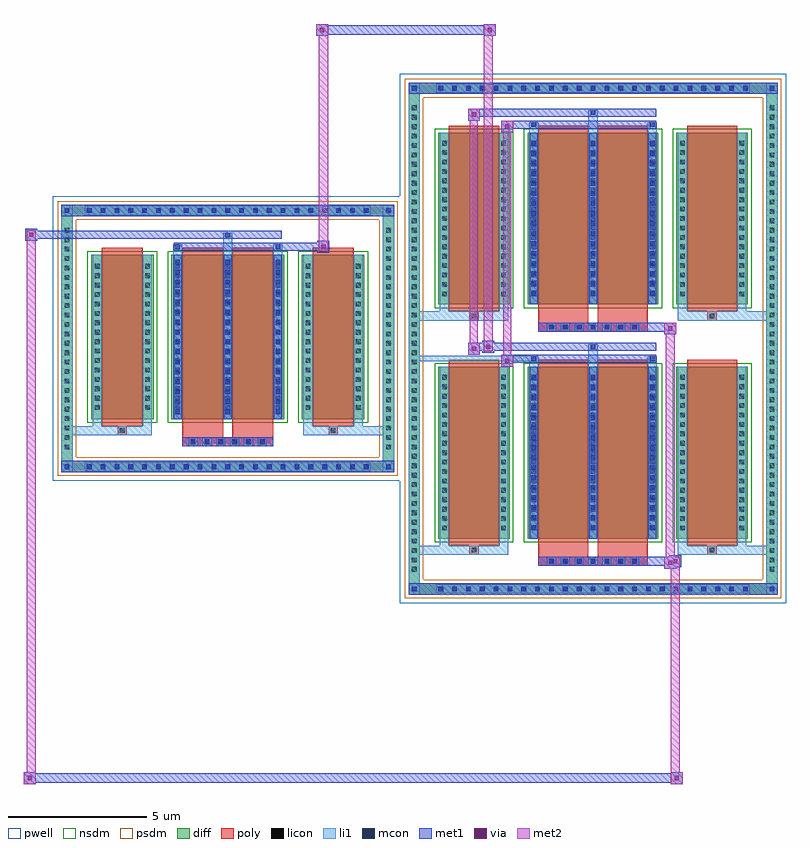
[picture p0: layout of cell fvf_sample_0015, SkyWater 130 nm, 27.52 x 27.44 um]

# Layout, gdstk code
import gdstk
lib = gdstk.Library(unit=1e-6, precision=1e-09)
def R(c, l, rs):  # rectangles x0, y0, x1, y1
    for r in rs: c.add(gdstk.rectangle(r[:2], r[2:], *l))
def A(c, l, x, y, w, h, nx, ny, dx, dy):  # array of equal rectangles
    R(c, l, [(x+i*dx, y+j*dy, x+i*dx+w, y+j*dy+h) for i in range(nx) for j in range(ny)])
def P(c, l, *ps):  # polygons
    for p in ps: c.add(gdstk.Polygon(p, *l))
pwell = (64, 44)
diff = (65, 20)
poly = (66, 20)
licon = (66, 44)
li1 = (67, 20)
mcon = (67, 44)
met1 = (68, 20)
via = (68, 44)
met2 = (69, 20)
nsdm = (93, 44)
psdm = (94, 20)

fvf_sample_0015 = lib.new_cell('fvf_sample_0015')
R(fvf_sample_0015, pwell, [(6.216,-9.552,20.158,9.552), (-6.316,-5.139,6.316,5.139)])
A(fvf_sample_0015, diff, 7.482, -9.242, 0.41, 0.41, 23, 2, 0.5, 18.074)
A(fvf_sample_0015, diff, 6.526, -8.535, 0.41, 0.41, 1, 50, 0, 0.34)
A(fvf_sample_0015, diff, 19.438, -8.535, 0.41, 0.41, 1, 50, 0, 0.34)
A(fvf_sample_0015, diff, -5.205, -4.829, 0.41, 0.41, 21, 2, 0.5, 9.248)
A(fvf_sample_0015, diff, -6.006, -4.115, 0.41, 0.41, 1, 24, 0, 0.34)
A(fvf_sample_0015, diff, 5.596, -4.115, 0.41, 0.41, 1, 24, 0, 0.34)
R(fvf_sample_0015, diff, [(7.482,-9.242,18.892,-8.832), (6.526,-8.535,6.936,8.535), (19.438,-8.535,19.848,8.535), (7.596,-7.221,10.184,-1.015), (10.824,-7.221,15.55,-1.015), (16.19,-7.221,18.778,-1.015), (-5.205,-4.829,5.205,-4.419), (-6.006,-4.115,-5.596,4.115), (5.596,-4.115,6.006,4.115), (-4.935,-2.908,-2.675,3.024), (-2.035,-2.908,2.035,3.024), (2.675,-2.908,4.935,3.024), (7.596,1.231,10.184,7.437), (10.824,1.231,15.55,7.437), (16.19,1.231,18.778,7.437), (-5.205,4.419,5.205,4.829), (7.482,8.832,18.892,9.242)])
P(fvf_sample_0015, diff, [(6.006,4.829),(-6.006,4.829),(-6.006,-4.419),(-5.596,-4.419),(-5.596,4.419),(5.596,4.419),(5.596,-4.419),(-5.596,-4.419),(-6.006,-4.419),(-6.006,-4.829),(6.006,-4.829)],
  [(19.848,9.242),(6.526,9.242),(6.526,-8.832),(6.936,-8.832),(6.936,8.832),(19.438,8.832),(19.438,-8.832),(6.936,-8.832),(6.526,-8.832),(6.526,-9.242),(19.848,-9.242)])
A(fvf_sample_0015, poly, 11.522, -8.202, 0.33, 0.33, 7, 2, 0.5, 8.452)
A(fvf_sample_0015, poly, -1.415, -3.888, 0.33, 0.33, 6, 1, 0.5, 0)
R(fvf_sample_0015, poly, [(11.214,-8.202,15.16,-7.872), (11.214,-7.872,13.022,-7.471), (13.352,-7.872,15.16,-7.471), (8.725,-7.801,9.055,-7.471), (8.725,-7.801,9.055,-7.471), (17.319,-7.801,17.649,-7.471), (17.319,-7.801,17.649,-7.471), (7.986,-7.471,9.794,-0.765), (11.214,-7.471,13.022,-0.765), (13.352,-7.471,15.16,-0.765), (16.58,-7.471,18.388,-0.765), (-1.645,-3.888,1.645,-3.558), (-1.645,-3.558,-0.165,-3.158), (0.165,-3.558,1.645,-3.158), (-3.97,-3.488,-3.64,-3.158), (-3.97,-3.488,-3.64,-3.158), (3.64,-3.488,3.97,-3.158), (3.64,-3.488,3.97,-3.158), (-4.545,-3.158,-3.065,3.274), (-1.645,-3.158,-0.165,3.274), (0.165,-3.158,1.645,3.274), (3.065,-3.158,4.545,3.274), (11.214,0.25,15.16,0.58), (11.214,0.58,13.022,0.981), (13.352,0.58,15.16,0.981), (8.725,0.651,9.055,0.981), (8.725,0.651,9.055,0.981), (17.319,0.651,17.649,0.981), (17.319,0.651,17.649,0.981), (7.986,0.981,9.794,7.687), (11.214,0.981,13.022,7.687), (13.352,0.981,15.16,7.687), (16.58,0.981,18.388,7.687)])
A(fvf_sample_0015, licon, 7.602, -9.122, 0.17, 0.17, 23, 2, 0.5, 18.074)
A(fvf_sample_0015, licon, 6.646, -8.415, 0.17, 0.17, 1, 50, 0, 0.34)
A(fvf_sample_0015, licon, 19.558, -8.415, 0.17, 0.17, 1, 50, 0, 0.34)
A(fvf_sample_0015, licon, 11.602, -8.122, 0.17, 0.17, 7, 2, 0.5, 8.452)
A(fvf_sample_0015, licon, 7.736, -6.923, 0.17, 0.17, 1, 17, 0, 0.34)
A(fvf_sample_0015, licon, 9.874, -6.923, 0.17, 0.17, 1, 17, 0, 0.34)
A(fvf_sample_0015, licon, 10.964, -6.923, 0.17, 0.17, 3, 17, 2.138, 0.34)
A(fvf_sample_0015, licon, 16.33, -6.923, 0.17, 0.17, 1, 17, 0, 0.34)
A(fvf_sample_0015, licon, 18.468, -6.923, 0.17, 0.17, 1, 17, 0, 0.34)
A(fvf_sample_0015, licon, -5.085, -4.709, 0.17, 0.17, 21, 2, 0.5, 9.248)
A(fvf_sample_0015, licon, -5.886, -3.995, 0.17, 0.17, 1, 24, 0, 0.34)
A(fvf_sample_0015, licon, 5.716, -3.995, 0.17, 0.17, 1, 24, 0, 0.34)
A(fvf_sample_0015, licon, -1.335, -3.808, 0.17, 0.17, 6, 1, 0.5, 0)
A(fvf_sample_0015, licon, -4.795, -2.577, 0.17, 0.17, 1, 16, 0, 0.34)
A(fvf_sample_0015, licon, -2.985, -2.577, 0.17, 0.17, 1, 16, 0, 0.34)
A(fvf_sample_0015, licon, -1.895, -2.577, 0.17, 0.17, 3, 16, 1.81, 0.34)
A(fvf_sample_0015, licon, 2.815, -2.577, 0.17, 0.17, 1, 16, 0, 0.34)
A(fvf_sample_0015, licon, 4.625, -2.577, 0.17, 0.17, 1, 16, 0, 0.34)
A(fvf_sample_0015, licon, 7.736, 1.529, 0.17, 0.17, 1, 17, 0, 0.34)
A(fvf_sample_0015, licon, 9.874, 1.529, 0.17, 0.17, 1, 17, 0, 0.34)
A(fvf_sample_0015, licon, 10.964, 1.529, 0.17, 0.17, 3, 17, 2.138, 0.34)
A(fvf_sample_0015, licon, 16.33, 1.529, 0.17, 0.17, 1, 17, 0, 0.34)
A(fvf_sample_0015, licon, 18.468, 1.529, 0.17, 0.17, 1, 17, 0, 0.34)
R(fvf_sample_0015, licon, [(8.805,-7.721,8.975,-7.551), (17.399,-7.721,17.569,-7.551), (-3.89,-3.408,-3.72,-3.238), (3.72,-3.408,3.89,-3.238), (8.805,0.731,8.975,0.901), (17.399,0.731,17.569,0.901)])
A(fvf_sample_0015, li1, 7.522, -9.202, 0.33, 0.33, 23, 2, 0.5, 18.074)
A(fvf_sample_0015, li1, 6.566, -8.495, 0.33, 0.33, 1, 50, 0, 0.34)
A(fvf_sample_0015, li1, 19.478, -8.495, 0.33, 0.33, 1, 50, 0, 0.34)
A(fvf_sample_0015, li1, 11.522, -8.202, 0.33, 0.33, 7, 2, 0.5, 8.452)
A(fvf_sample_0015, li1, 10.884, -7.221, 0.33, 6.206, 3, 2, 2.138, 8.452)
A(fvf_sample_0015, li1, 7.656, -7.003, 0.33, 0.33, 1, 17, 0, 0.34)
A(fvf_sample_0015, li1, 9.794, -7.003, 0.33, 0.33, 1, 17, 0, 0.34)
A(fvf_sample_0015, li1, 10.884, -7.003, 0.33, 0.33, 3, 17, 2.138, 0.34)
A(fvf_sample_0015, li1, 16.25, -7.003, 0.33, 0.33, 1, 17, 0, 0.34)
A(fvf_sample_0015, li1, 18.388, -7.003, 0.33, 0.33, 1, 17, 0, 0.34)
A(fvf_sample_0015, li1, 10.964, -6.903, 0.17, 0.17, 3, 16, 2.138, 0.36)
A(fvf_sample_0015, li1, 10.964, -6.903, 0.17, 5.57, 3, 2, 2.138, 8.452)
A(fvf_sample_0015, li1, -5.165, -4.789, 0.33, 0.33, 21, 2, 0.5, 9.248)
A(fvf_sample_0015, li1, -5.966, -4.075, 0.33, 0.33, 1, 24, 0, 0.34)
A(fvf_sample_0015, li1, 5.636, -4.075, 0.33, 0.33, 1, 24, 0, 0.34)
A(fvf_sample_0015, li1, -1.415, -3.888, 0.33, 0.33, 6, 1, 0.5, 0)
A(fvf_sample_0015, li1, -1.975, -2.908, 0.33, 5.932, 3, 1, 1.81, 0)
A(fvf_sample_0015, li1, -1.895, -2.727, 0.17, 0.17, 3, 16, 1.81, 0.36)
A(fvf_sample_0015, li1, -1.895, -2.727, 0.17, 5.57, 3, 1, 1.81, 0)
A(fvf_sample_0015, li1, -4.875, -2.657, 0.33, 0.33, 1, 16, 0, 0.34)
A(fvf_sample_0015, li1, -3.065, -2.657, 0.33, 0.33, 1, 16, 0, 0.34)
A(fvf_sample_0015, li1, -1.975, -2.657, 0.33, 0.33, 3, 16, 1.81, 0.34)
A(fvf_sample_0015, li1, 2.735, -2.657, 0.33, 0.33, 1, 16, 0, 0.34)
A(fvf_sample_0015, li1, 4.545, -2.657, 0.33, 0.33, 1, 16, 0, 0.34)
A(fvf_sample_0015, li1, 7.656, 1.449, 0.33, 0.33, 1, 17, 0, 0.34)
A(fvf_sample_0015, li1, 9.794, 1.449, 0.33, 0.33, 1, 17, 0, 0.34)
A(fvf_sample_0015, li1, 10.884, 1.449, 0.33, 0.33, 3, 17, 2.138, 0.34)
A(fvf_sample_0015, li1, 16.25, 1.449, 0.33, 0.33, 1, 17, 0, 0.34)
A(fvf_sample_0015, li1, 18.388, 1.449, 0.33, 0.33, 1, 17, 0, 0.34)
A(fvf_sample_0015, li1, 10.964, 1.549, 0.17, 0.17, 3, 16, 2.138, 0.36)
R(fvf_sample_0015, li1, [(6.526,-9.242,6.936,-8.832), (19.438,-9.242,19.848,-8.832), (7.522,-9.202,18.852,-8.872), (6.646,-9.122,6.816,-8.952), (6.646,-9.122,6.816,-8.952), (19.558,-9.122,19.728,-8.952), (19.558,-9.122,19.728,-8.952), (6.526,-8.832,6.936,8.832), (19.438,-8.832,19.848,8.832), (6.526,-7.801,8.725,-7.471), (7.656,-7.801,7.986,-7.221), (7.656,-7.801,8.725,-7.471), (8.725,-7.801,9.055,-7.471), (9.055,-7.801,10.124,-7.471), (9.794,-7.801,10.124,-7.221), (16.25,-7.801,16.58,-7.221), (16.25,-7.801,17.319,-7.471), (17.319,-7.801,17.649,-7.471), (17.319,-7.801,19.848,-7.471), (17.649,-7.801,18.718,-7.471), (18.388,-7.801,18.718,-7.221), (7.656,-7.221,7.986,-1.015), (9.794,-7.221,10.124,-1.015), (16.25,-7.221,16.58,-1.015), (18.388,-7.221,18.718,-1.015), (-6.006,-4.829,-5.596,-4.419), (5.596,-4.829,6.006,-4.419), (-5.165,-4.789,5.165,-4.459), (-5.886,-4.709,-5.716,-4.539), (-5.886,-4.709,-5.716,-4.539), (5.716,-4.709,5.886,-4.539), (5.716,-4.709,5.886,-4.539), (-6.006,-4.419,-5.596,4.419), (5.596,-4.419,6.006,4.419), (-6.006,-3.488,-3.97,-3.158), (-4.875,-3.488,-3.97,-3.158), (-4.875,-3.488,-4.545,-2.908), (-3.97,-3.488,-3.64,-3.158), (-3.64,-3.488,-2.735,-3.158), (-3.065,-3.488,-2.735,-2.908), (2.735,-3.488,3.64,-3.158), (2.735,-3.488,3.065,-2.908), (3.64,-3.488,3.97,-3.158), (3.64,-3.488,6.006,-3.158), (3.97,-3.488,4.875,-3.158), (4.545,-3.488,4.875,-2.908), (-4.875,-2.908,-4.545,3.024), (-3.065,-2.908,-2.735,3.024), (2.735,-2.908,3.065,3.024), (4.545,-2.908,4.875,3.024), (10.884,-1.015,11.214,-0.64), (13.022,-1.015,13.352,-0.21), (15.16,-1.015,15.49,-0.64), (10.904,-0.87,11.194,-0.58), (6.526,-0.825,10.904,-0.625), (10.964,-0.81,11.134,-0.64), (10.964,-0.81,11.134,-0.64), (15.24,-0.81,15.41,-0.64), (13.102,-0.38,13.272,-0.21), (6.526,0.651,8.725,0.981), (7.656,0.651,7.986,1.231), (7.656,0.651,8.725,0.981), (8.725,0.651,9.055,0.981), (9.055,0.651,10.124,0.981), (9.794,0.651,10.124,1.231), (16.25,0.651,16.58,1.231), (16.25,0.651,17.319,0.981), (17.319,0.651,17.649,0.981), (17.319,0.651,19.848,0.981), (17.649,0.651,18.718,0.981), (18.388,0.651,18.718,1.231), (7.656,1.231,7.986,7.437), (9.794,1.231,10.124,7.437), (16.25,1.231,16.58,7.437), (18.388,1.231,18.718,7.437), (-1.975,3.024,-1.645,3.399), (-0.165,3.024,0.165,3.829), (1.645,3.024,1.975,3.399), (-1.895,3.229,-1.725,3.399), (1.725,3.229,1.895,3.399), (-0.085,3.659,0.085,3.829), (-6.006,4.419,-5.596,4.829), (5.596,4.419,6.006,4.829), (-5.165,4.459,5.165,4.789), (-5.886,4.539,-5.716,4.709), (-5.886,4.539,-5.716,4.709), (5.716,4.539,5.886,4.709), (5.716,4.539,5.886,4.709), (10.884,7.437,11.214,7.812), (13.022,7.437,13.352,8.242), (15.16,7.437,15.49,7.812), (10.964,7.642,11.134,7.812), (15.24,7.642,15.41,7.812), (13.102,8.072,13.272,8.242), (6.526,8.832,6.936,9.242), (19.438,8.832,19.848,9.242), (7.522,8.872,18.852,9.202), (6.646,8.952,6.816,9.122), (6.646,8.952,6.816,9.122), (19.558,8.952,19.728,9.122), (19.558,8.952,19.728,9.122)])
A(fvf_sample_0015, mcon, 7.602, -9.122, 0.17, 0.17, 23, 2, 0.5, 18.074)
A(fvf_sample_0015, mcon, 11.602, -8.122, 0.17, 0.17, 7, 2, 0.5, 8.452)
A(fvf_sample_0015, mcon, 10.964, -6.903, 0.17, 0.17, 3, 16, 2.138, 0.36)
A(fvf_sample_0015, mcon, -5.085, -4.709, 0.17, 0.17, 21, 2, 0.5, 9.248)
A(fvf_sample_0015, mcon, -1.335, -3.808, 0.17, 0.17, 6, 1, 0.5, 0)
A(fvf_sample_0015, mcon, -1.895, -2.727, 0.17, 0.17, 3, 16, 1.81, 0.36)
A(fvf_sample_0015, mcon, 10.964, 1.549, 0.17, 0.17, 3, 16, 2.138, 0.36)
R(fvf_sample_0015, mcon, [(6.646,-9.122,6.816,-8.952), (19.558,-9.122,19.728,-8.952), (-5.886,-4.709,-5.716,-4.539), (5.716,-4.709,5.886,-4.539), (10.964,-0.81,11.134,-0.64), (10.964,-0.81,11.134,-0.64), (15.24,-0.81,15.41,-0.64), (13.102,-0.38,13.272,-0.21), (-1.895,3.229,-1.725,3.399), (1.725,3.229,1.895,3.399), (-0.085,3.659,0.085,3.829), (-5.886,4.539,-5.716,4.709), (5.716,4.539,5.886,4.709), (10.964,7.642,11.134,7.812), (15.24,7.642,15.41,7.812), (13.102,8.072,13.272,8.242), (6.646,8.952,6.816,9.122), (19.558,8.952,19.728,9.122)])
A(fvf_sample_0015, met1, 7.542, -9.182, 0.29, 0.29, 23, 2, 0.5, 18.074)
A(fvf_sample_0015, met1, 11.542, -8.182, 0.29, 0.29, 7, 2, 0.5, 8.452)
A(fvf_sample_0015, met1, 10.904, -7.221, 0.29, 6.206, 3, 2, 2.138, 8.452)
A(fvf_sample_0015, met1, 10.904, -6.963, 0.29, 0.29, 3, 16, 2.138, 0.36)
A(fvf_sample_0015, met1, -5.145, -4.769, 0.29, 0.29, 21, 2, 0.5, 9.248)
A(fvf_sample_0015, met1, -1.395, -3.868, 0.29, 0.29, 6, 1, 0.5, 0)
A(fvf_sample_0015, met1, -1.955, -2.908, 0.29, 5.932, 3, 1, 1.81, 0)
A(fvf_sample_0015, met1, -1.955, -2.787, 0.29, 0.29, 3, 16, 1.81, 0.36)
A(fvf_sample_0015, met1, 10.904, 1.489, 0.29, 0.29, 3, 16, 2.138, 0.36)
R(fvf_sample_0015, met1, [(-7.359,-16.079,-6.929,-15.649), (15.995,-16.079,16.425,-15.649), (-7.359,-16.029,16.425,-15.699), (-7.359,-15.699,-6.929,-15.649), (15.995,-15.699,16.425,-15.649), (6.526,-9.242,6.936,-8.832), (6.526,-9.242,6.936,-8.832), (6.936,-9.242,19.438,-8.832), (19.438,-9.242,19.848,-8.832), (19.438,-9.242,19.848,-8.832), (6.586,-9.182,6.876,-8.892), (19.498,-9.182,19.788,-8.892), (15.76,-8.302,16.19,-7.872), (15.945,-8.252,16.375,-7.822), (11.214,-8.202,15.16,-7.872), (15.16,-8.202,15.945,-7.872), (15.16,-8.202,16.19,-7.872), (-6.006,-4.829,-5.596,-4.419), (-6.006,-4.829,-5.596,-4.419), (-5.596,-4.829,5.596,-4.419), (5.596,-4.829,6.006,-4.419), (5.596,-4.829,6.006,-4.419), (-5.946,-4.769,-5.656,-4.479), (5.656,-4.769,5.946,-4.479), (-1.645,-3.888,1.645,-3.558), (9.874,-1.01,10.304,-0.58), (9.874,-0.87,10.904,-0.58), (10.904,-0.87,11.194,-0.58), (10.904,-0.87,11.194,-0.58), (10.904,-0.87,15.47,-0.58), (15.18,-0.87,15.47,-0.58), (8.674,-0.58,9.104,-0.15), (9.189,-0.51,9.619,-0.08), (8.674,-0.44,10.904,-0.15), (9.619,-0.44,10.904,-0.15), (10.904,-0.44,15.47,-0.15), (13.042,-0.44,13.332,-0.15), (15.76,0.15,16.19,0.58), (11.214,0.25,15.16,0.58), (15.16,0.25,16.19,0.58), (3.24,3.099,3.67,3.529), (-1.955,3.169,-1.665,3.459), (-1.955,3.169,1.955,3.459), (1.665,3.169,1.955,3.459), (1.955,3.169,3.24,3.459), (-7.309,3.529,-6.879,3.959), (-6.879,3.599,-1.955,3.889), (-1.955,3.599,1.955,3.889), (-0.145,3.599,0.145,3.889), (-6.006,4.419,-5.596,4.829), (-6.006,4.419,-5.596,4.829), (-5.596,4.419,5.596,4.829), (5.596,4.419,6.006,4.829), (5.596,4.419,6.006,4.829), (-5.946,4.479,-5.656,4.769), (5.656,4.479,5.946,4.769), (9.874,7.442,10.304,7.872), (9.874,7.582,10.904,7.872), (10.904,7.582,11.194,7.872), (10.904,7.582,15.47,7.872), (15.18,7.582,15.47,7.872), (8.674,7.872,9.104,8.302), (8.674,8.012,10.904,8.302), (10.904,8.012,15.47,8.302), (13.042,8.012,13.332,8.302), (6.526,8.832,6.936,9.242), (6.526,8.832,6.936,9.242), (6.936,8.832,19.438,9.242), (19.438,8.832,19.848,9.242), (19.438,8.832,19.848,9.242), (6.586,8.892,6.876,9.182), (19.498,8.892,19.788,9.182), (3.19,10.926,3.62,11.356), (9.239,10.926,9.669,11.356), (3.19,10.976,9.669,11.306), (3.19,11.306,3.62,11.356), (9.239,11.306,9.669,11.356)])
R(fvf_sample_0015, via, [(-7.219,-15.939,-7.069,-15.789), (16.135,-15.939,16.285,-15.789), (15.9,-8.162,16.05,-8.012), (16.085,-8.112,16.235,-7.962), (10.014,-0.87,10.164,-0.72), (8.814,-0.44,8.964,-0.29), (9.329,-0.37,9.479,-0.22), (15.9,0.29,16.05,0.44), (3.38,3.239,3.53,3.389), (-7.169,3.669,-7.019,3.819), (10.014,7.582,10.164,7.732), (8.814,8.012,8.964,8.162), (3.33,11.066,3.48,11.216), (9.379,11.066,9.529,11.216)])
R(fvf_sample_0015, met2, [(-7.359,-16.079,-6.929,-15.649), (-7.259,-16.079,-6.929,3.579), (15.995,-16.079,16.425,-15.649), (15.995,-16.079,16.325,-8.202), (-7.309,-16.029,-6.979,-15.699), (16.045,-16.029,16.375,-15.699), (15.76,-8.302,16.19,-7.872), (15.81,-8.302,16.14,0.58), (16.14,-8.302,16.19,-7.872), (15.81,-8.252,16.14,-7.922), (15.995,-8.202,16.325,-7.872), (9.874,-1.01,10.304,-0.58), (9.944,-1.01,10.234,7.872), (10.234,-1.01,10.304,-0.58), (9.924,-0.96,10.254,-0.63), (8.674,-0.58,9.104,-0.15), (8.744,-0.58,9.034,8.302), (9.034,-0.58,9.104,-0.15), (8.724,-0.53,9.054,-0.2), (9.239,-0.46,9.569,-0.13), (9.239,-0.13,9.569,11.356), (15.76,0.15,16.19,0.58), (16.14,0.15,16.19,0.58), (15.81,0.2,16.14,0.53), (3.29,3.149,3.62,3.479), (3.29,3.479,3.62,11.356), (-7.259,3.579,-6.929,3.909), (9.874,7.442,10.304,7.872), (10.234,7.442,10.304,7.872), (9.924,7.492,10.254,7.822), (8.674,7.872,9.104,8.302), (9.034,7.872,9.104,8.302), (8.724,7.922,9.054,8.252), (3.19,10.926,3.62,11.356), (9.239,10.926,9.669,11.356), (3.24,10.976,3.57,11.306), (9.289,10.976,9.619,11.306)])
R(fvf_sample_0015, nsdm, [(7.466,-7.351,10.314,-0.885), (10.694,-7.351,15.68,-0.885), (16.06,-7.351,18.908,-0.885), (-5.065,-3.038,-2.545,3.154), (-2.165,-3.038,2.165,3.154), (2.545,-3.038,5.065,3.154), (7.466,1.101,10.314,7.567), (10.694,1.101,15.68,7.567), (16.06,1.101,18.908,7.567)])
P(fvf_sample_0015, psdm, [(6.136,4.959),(-6.136,4.959),(-6.136,-4.289),(-5.466,-4.289),(-5.466,4.289),(5.466,4.289),(5.466,-4.289),(-5.466,-4.289),(-6.136,-4.289),(-6.136,-4.959),(6.136,-4.959)],
  [(19.978,9.372),(6.396,9.372),(6.396,-8.702),(7.066,-8.702),(7.066,8.702),(19.308,8.702),(19.308,-8.702),(7.066,-8.702),(6.396,-8.702),(6.396,-9.372),(19.978,-9.372)])

lib.write_gds('fvf_sample_0015.gds')
